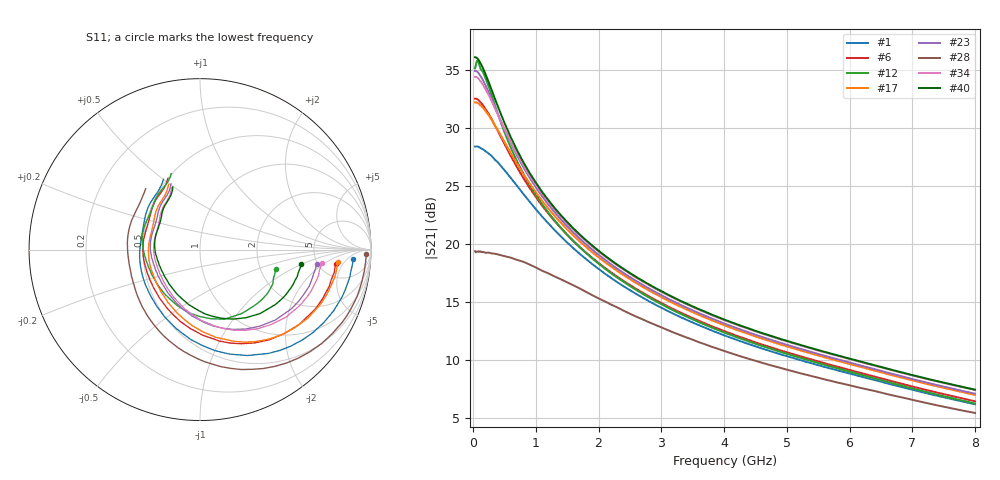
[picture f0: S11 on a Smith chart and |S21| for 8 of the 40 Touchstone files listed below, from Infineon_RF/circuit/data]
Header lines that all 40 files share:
! Infineon Technologies  Discrete & RF Semiconductors
! BFP620F
! Common Emitter S-Parameters:  Dec 2014
# GHz  S  MA  R  50
!  f  S11  S21  S12  S22
! GHz  MAG  ANG  MAG  ANG  MAG  ANG  MAG  ANG
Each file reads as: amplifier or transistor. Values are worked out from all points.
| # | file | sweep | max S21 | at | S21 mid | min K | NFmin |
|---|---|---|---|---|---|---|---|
| 1 | BFP620F_w_noise_VCE_1.0V_IC_10mA.s2p | 30 MHz to 8 GHz | 28.4 dB | 50 MHz | 13.7 dB at 3.3 GHz | -0.05 | 0.60 dB |
| 2 | BFP620F_w_noise_VCE_1.0V_IC_13mA.s2p | 30 MHz to 8 GHz | 30.2 dB | 60 MHz | 13.9 dB at 3.3 GHz | -0.03 | 0.66 dB |
| 3 | BFP620F_w_noise_VCE_1.0V_IC_15mA.s2p | 30 MHz to 8 GHz | 31.1 dB | 50 MHz | 14.0 dB at 3.3 GHz | 0.01 | 0.71 dB |
| 4 | BFP620F_w_noise_VCE_1.0V_IC_17mA.s2p | 30 MHz to 8 GHz | 31.9 dB | 40 MHz | 14.1 dB at 3.3 GHz | -0.05 | 0.76 dB |
| 5 | BFP620F_w_noise_VCE_1.0V_IC_18mA.s2p | 30 MHz to 8 GHz | 32.2 dB | 40 MHz | 14.1 dB at 3.3 GHz | -0.02 | 0.78 dB |
| 6 | BFP620F_w_noise_VCE_1.0V_IC_19mA.s2p | 30 MHz to 8 GHz | 32.6 dB | 40 MHz | 14.1 dB at 3.3 GHz | 0.05 | 0.81 dB |
| 7 | BFP620F_w_noise_VCE_1.0V_IC_20mA.s2p | 30 MHz to 8 GHz | 32.9 dB | 40 MHz | 14.1 dB at 3.3 GHz | -0.10 | 0.84 dB |
| 8 | BFP620F_w_noise_VCE_1.0V_IC_33mA.s2p | 30 MHz to 8 GHz | 35.3 dB | 60 MHz | 14.2 dB at 3.3 GHz | 0.06 | 1.20 dB |
| 9 | BFP620F_w_noise_VCE_1.0V_IC_37mA.s2p | 30 MHz to 8 GHz | 35.6 dB | 60 MHz | 14.1 dB at 3.3 GHz | 0.08 | 1.29 dB |
| 10 | BFP620F_w_noise_VCE_1.0V_IC_39mA.s2p | 30 MHz to 8 GHz | 35.7 dB | 60 MHz | 14.1 dB at 3.3 GHz | 0.09 | 1.34 dB |
| 11 | BFP620F_w_noise_VCE_1.0V_IC_40mA.s2p | 30 MHz to 8 GHz | 35.8 dB | 70 MHz | 14.1 dB at 3.3 GHz | 0.10 | 1.36 dB |
| 12 | BFP620F_w_noise_VCE_1.0V_IC_50mA.s2p | 30 MHz to 8 GHz | 35.9 dB | 70 MHz | 14.0 dB at 3.3 GHz | 0.12 | 1.55 dB |
| 13 | BFP620F_w_noise_VCE_1.3V_IC_1.0mA.s2p | 40 MHz to 8 GHz | 10.7 dB | 150 MHz | 7.2 dB at 3.4 GHz | -0.04 | 0.63 dB |
| 14 | BFP620F_w_noise_VCE_1.3V_IC_5.0mA.s2p | 30 MHz to 8 GHz | 23.3 dB | 80 MHz | 13.2 dB at 3.3 GHz | -0.01 | 0.52 dB |
| 15 | BFP620F_w_noise_VCE_1.3V_IC_8.0mA.s2p | 30 MHz to 8 GHz | 26.9 dB | 60 MHz | 13.9 dB at 3.3 GHz | -0.09 | 0.56 dB |
| 16 | BFP620F_w_noise_VCE_1.3V_IC_15mA.s2p | 30 MHz to 8 GHz | 31.1 dB | 50 MHz | 14.5 dB at 3.3 GHz | -0.06 | 0.71 dB |
| 17 | BFP620F_w_noise_VCE_1.3V_IC_18mA.s2p | 30 MHz to 8 GHz | 32.2 dB | 30 MHz | 14.6 dB at 3.3 GHz | -0.04 | 0.78 dB |
| 18 | BFP620F_w_noise_VCE_1.3V_IC_20mA.s2p | 30 MHz to 8 GHz | 32.9 dB | 30 MHz | 14.7 dB at 3.3 GHz | 0.03 | 0.84 dB |
| 19 | BFP620F_w_noise_VCE_1.3V_IC_23mA.s2p | 30 MHz to 8 GHz | 33.6 dB | 30 MHz | 14.7 dB at 3.3 GHz | -0.02 | 0.94 dB |
| 20 | BFP620F_w_noise_VCE_1.3V_IC_25mA.s2p | 30 MHz to 8 GHz | 34.1 dB | 30 MHz | 14.7 dB at 3.3 GHz | 0.03 | 1.00 dB |
| 21 | BFP620F_w_noise_VCE_1.3V_IC_27mA.s2p | 30 MHz to 8 GHz | 34.5 dB | 30 MHz | 14.7 dB at 3.3 GHz | 0.03 | 1.05 dB |
| 22 | BFP620F_w_noise_VCE_1.3V_IC_28mA.s2p | 30 MHz to 8 GHz | 34.6 dB | 30 MHz | 14.8 dB at 3.3 GHz | -0.04 | 1.08 dB |
| 23 | BFP620F_w_noise_VCE_1.3V_IC_30mA.s2p | 30 MHz to 8 GHz | 35.0 dB | 30 MHz | 14.8 dB at 3.3 GHz | 0.02 | 1.13 dB |
| 24 | BFP620F_w_noise_VCE_1.3V_IC_33mA.s2p | 30 MHz to 8 GHz | 35.4 dB | 30 MHz | 14.8 dB at 3.3 GHz | 0.07 | 1.20 dB |
| 25 | BFP620F_w_noise_VCE_1.3V_IC_35mA.s2p | 30 MHz to 8 GHz | 35.6 dB | 30 MHz | 14.8 dB at 3.3 GHz | 0.08 | 1.25 dB |
| 26 | BFP620F_w_noise_VCE_1.3V_IC_39mA.s2p | 30 MHz to 8 GHz | 36.0 dB | 30 MHz | 14.8 dB at 3.3 GHz | 0.07 | 1.34 dB |
| 27 | BFP620F_w_noise_VCE_1.3V_IC_50mA.s2p | 30 MHz to 8 GHz | 36.8 dB | 50 MHz | 14.7 dB at 3.3 GHz | 0.14 | 1.55 dB |
| 28 | BFP620F_w_noise_VCE_1.5V_IC_3.0mA.s2p | 30 MHz to 8 GHz | 19.4 dB | 30 MHz | 12.1 dB at 3.3 GHz | -0.27 | 0.51 dB |
| 29 | BFP620F_w_noise_VCE_1.5V_IC_5.0mA.s2p | 30 MHz to 8 GHz | 23.4 dB | 80 MHz | 13.4 dB at 3.3 GHz | -0.05 | 0.52 dB |
| 30 | BFP620F_w_noise_VCE_1.5V_IC_7.0mA.s2p | 30 MHz to 8 GHz | 25.9 dB | 60 MHz | 14.0 dB at 3.3 GHz | -0.10 | 0.55 dB |
| 31 | BFP620F_w_noise_VCE_1.5V_IC_12mA.s2p | 30 MHz to 8 GHz | 29.7 dB | 50 MHz | 14.6 dB at 3.3 GHz | 0.00 | 0.64 dB |
| 32 | BFP620F_w_noise_VCE_1.5V_IC_13mA.s2p | 30 MHz to 8 GHz | 30.2 dB | 50 MHz | 14.7 dB at 3.3 GHz | -0.14 | 0.66 dB |
| 33 | BFP620F_w_noise_VCE_1.5V_IC_25mA.s2p | 30 MHz to 8 GHz | 34.1 dB | 30 MHz | 15.0 dB at 3.3 GHz | 0.05 | 1.00 dB |
| 34 | BFP620F_w_noise_VCE_1.5V_IC_27mA.s2p | 30 MHz to 8 GHz | 34.5 dB | 30 MHz | 15.1 dB at 3.3 GHz | -0.10 | 1.05 dB |
| 35 | BFP620F_w_noise_VCE_1.5V_IC_28mA.s2p | 30 MHz to 8 GHz | 34.6 dB | 30 MHz | 15.1 dB at 3.3 GHz | 0.06 | 1.08 dB |
| 36 | BFP620F_w_noise_VCE_1.5V_IC_30mA.s2p | 30 MHz to 8 GHz | 35.0 dB | 30 MHz | 15.1 dB at 3.3 GHz | -0.01 | 1.13 dB |
| 37 | BFP620F_w_noise_VCE_1.5V_IC_33mA.s2p | 30 MHz to 8 GHz | 35.4 dB | 30 MHz | 15.1 dB at 3.3 GHz | 0.00 | 1.20 dB |
| 38 | BFP620F_w_noise_VCE_1.5V_IC_35mA.s2p | 30 MHz to 8 GHz | 35.6 dB | 30 MHz | 15.1 dB at 3.3 GHz | 0.05 | 1.25 dB |
| 39 | BFP620F_w_noise_VCE_1.5V_IC_37mA.s2p | 30 MHz to 8 GHz | 35.8 dB | 30 MHz | 15.1 dB at 3.3 GHz | -0.05 | 1.29 dB |
| 40 | BFP620F_w_noise_VCE_1.5V_IC_40mA.s2p | 30 MHz to 8 GHz | 36.1 dB | 30 MHz | 15.1 dB at 3.3 GHz | 0.15 | 1.36 dB |

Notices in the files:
2_Circuitos/VCO/Simulacion/modelos/Infineon_RF/circuit/data/BFP620F_w_noise_VCE_1.0V_IC_10mA.s2p:
(c) 2014  Infineon Technologies AG, Munich
